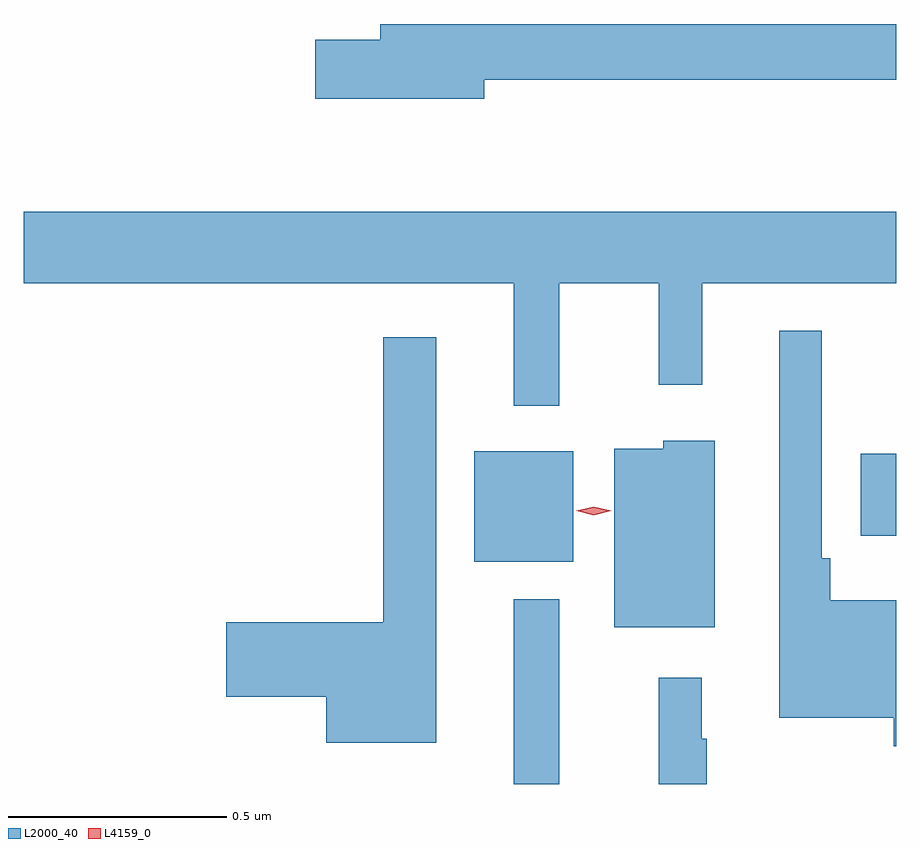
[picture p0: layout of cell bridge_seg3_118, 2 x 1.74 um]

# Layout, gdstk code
import gdstk
lib = gdstk.Library(unit=1e-6, precision=1e-09)
def R(c, l, rs):  # rectangles x0, y0, x1, y1
    for r in rs: c.add(gdstk.rectangle(r[:2], r[2:], *l))
def P(c, l, *ps):  # polygons
    for p in ps: c.add(gdstk.Polygon(p, *l))
L2000_40 = (2000, 40)
L4159_0 = (4159, 0)

bridge_seg3_118 = lib.new_cell('bridge_seg3_118')
R(bridge_seg3_118, L2000_40, [(338.729,727.74,338.833,728.164), (338.639,728.249,338.866,728.503), (339.524,728.309,339.606,728.497)])
P(bridge_seg3_118, L2000_40, [(338.662,729.354),(339.606,729.354),(339.606,729.482),(338.423,729.482),(338.423,729.446),(338.274,729.446),(338.274,729.311),(338.662,729.311)],
  [(338.833,728.888),(339.061,728.888),(339.061,728.655),(339.161,728.655),(339.161,728.888),(339.606,728.888),(339.606,729.052),(337.606,729.052),(337.606,728.888),(338.729,728.888),(338.729,728.607),(338.833,728.607)],
  [(339.606,728.161),(339.455,728.161),(339.455,728.257),(339.435,728.257),(339.435,728.779),(339.338,728.779),(339.338,727.892),(339.6,727.892),(339.6,727.827),(339.606,727.827)],
  [(338.551,728.764),(338.43,728.764),(338.43,728.111),(338.07,728.111),(338.07,727.94),(338.3,727.94),(338.3,727.835),(338.551,727.835)],
  [(339.19,728.527),(339.072,728.527),(339.072,728.509),(338.96,728.509),(338.96,728.099),(339.19,728.099)],
  [(339.172,727.844),(339.16,727.844),(339.16,727.984),(339.061,727.984),(339.061,727.74),(339.172,727.74)])
P(bridge_seg3_118, L4159_0, [(338.912,728.356),(338.872,728.366),(338.871,728.366),(338.872,728.366),(338.912,728.376),(338.953,728.366),(338.953,728.366),(338.953,728.366)])

lib.write_gds('bridge_seg3_118.gds')
